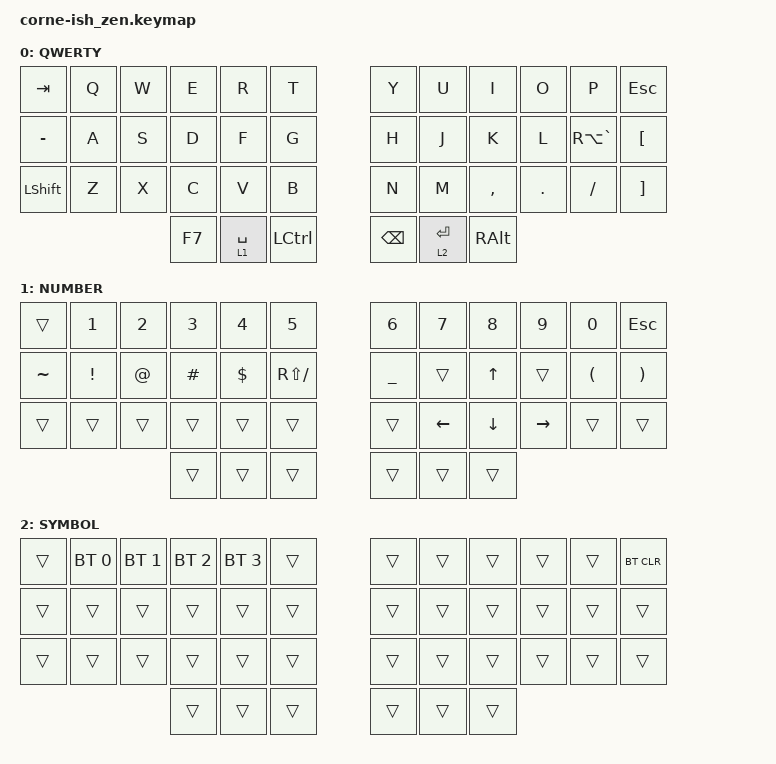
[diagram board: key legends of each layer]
/*
*
* Copyright (c) 2021 Darryl deHaan
* SPDX-License-Identifier: MIT
*
*/

#include <behaviors.dtsi>
#include <dt-bindings/zmk/keys.h>
#include <dt-bindings/zmk/bt.h>

/ {
  chosen {
    zmk,matrix_transform = &default_transform;
    //zmk,matrix_transform = &five_column_transform;
  };
};

/ {
        keymap {
                compatible = "zmk,keymap";

                default_layer {
                        label = "QWERTY";
// -----------------------------------------------------------------------------------------
// |  TAB |  Q  |  W  |  E  |  R  |  T  |   |  Y  |  U   |  I  |  O  |  P  | ESC |
// |   -  |  A  |  S  |  D  |  F  |  G  |   |  H  |  J   |  K  |  L  |  ja |  [  |
// | SHFT |  Z  |  X  |  C  |  V  |  B  |   |  N  |  M   |  ,  |  .  |  /  |  ]  |
//                    |  F7 | SPC | CTRL|   | BKSP | ENT  | ALT |
                        bindings = <
   &kp TAB   &kp Q &kp W &kp E &kp R &kp T   &kp Y &kp U  &kp I     &kp O   &kp P    &kp ESC
   &kp MINUS &kp A &kp S &kp D &kp F &kp G   &kp H &kp J  &kp K     &kp L   &kp RA(GRAVE) &kp LBKT
   &kp LSHFT &kp Z &kp X &kp C &kp V &kp B   &kp N &kp M  &kp COMMA &kp DOT &kp FSLH &kp RBKT
                  &kp F7 &lt 1 SPACE &kp LCTRL   &kp BSPC &lt 2 RET &kp RALT
                        >;
                };
                lower_layer {
                        label = "NUMBER";
// -----------------------------------------------------------------------------------------
// |      |  1  |  2  |  3  |  4  |  5  |   |  6  |  7  |  8  |  9  |  0  | ESC  |
// |   ~  |  !  |  @  |  #  |  $  |  ?  |   |  _  |     |  UP |     |  (  |   )  |
// |      |     |     |     |     |     |   |     | LFT | DWN | RGT |     |      |
//                    |     |     |     |   |     |     |     |
                        bindings = <
   &trans    &kp N1   &kp N2 &kp N3   &kp N4   &kp N5             &kp N6  &kp N7    &kp N8   &kp N9   &kp N0    &kp ESC
   &kp TILDE &kp EXCL &kp AT &kp HASH &kp DLLR &kp RS(FSLH)       &kp UNDER  &trans  &kp UP  &trans  &kp LPAR  &kp RPAR
   &trans    &trans  &trans  &trans  &trans  &trans              &trans  &kp LEFT  &kp DOWN  &kp RIGHT &trans  &trans
                          	       &trans   &trans   &trans       &trans  &trans  &trans
                        >;
                };

                raise_layer {
                        label = "SYMBOL";
// -----------------------------------------------------------------------------------------
// |      | BT0 | BT1 | BT2 | BT3 |     |   |     |     |     |     |     | BTCLR|
// |      |     |     |     |     |     |   |     |     |     |     |     |      |
// |      |     |     |     |     |     |   |     |     |     |     |     |      |
//                    |     |     |     |   |     |     |     |
                        bindings = <
   &trans  &bt BT_SEL 0 &bt BT_SEL 1 &bt BT_SEL 2 &bt BT_SEL 3 &trans    &trans &trans &trans &trans  &trans &bt BT_CLR
   &trans  &trans   &trans  &trans  &trans   &trans                   &trans  &trans  &trans  &trans  &trans  &trans
   &trans  &trans   &trans &trans   &trans   &trans                   &trans  &trans  &trans   &trans  &trans  &trans
                    	       &trans   &trans   &trans                  &trans   &trans  &trans
                        >;
                };
        };
};
